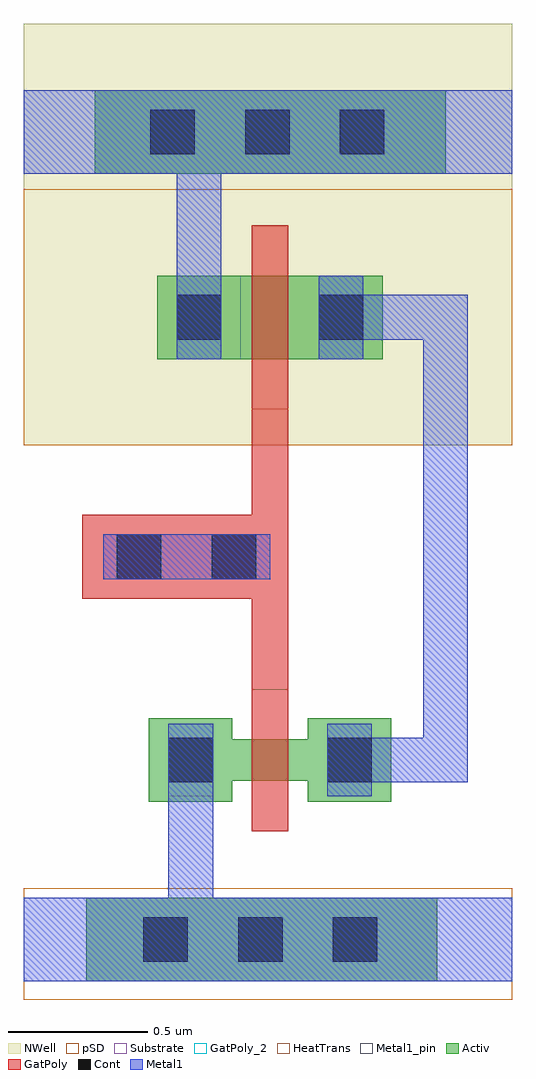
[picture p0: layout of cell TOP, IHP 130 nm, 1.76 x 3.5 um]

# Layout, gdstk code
from math import pi, radians
import gdstk
lib = gdstk.Library(unit=1e-6, precision=1e-09)
def R(c, l, rs):  # rectangles x0, y0, x1, y1
    for r in rs: c.add(gdstk.rectangle(r[:2], r[2:], *l))
def A(c, l, x, y, w, h, nx, ny, dx, dy):  # array of equal rectangles
    R(c, l, [(x+i*dx, y+j*dy, x+i*dx+w, y+j*dy+h) for i in range(nx) for j in range(ny)])
def P(c, l, *ps):  # polygons
    for p in ps: c.add(gdstk.Polygon(p, *l))
Activ = (1, 0)
GatPoly = (5, 0)
GatPoly_2 = (5, 2)
Cont = (6, 0)
Metal1 = (8, 0)
Metal1_pin = (8, 2)
pSD = (14, 0)
NWell = (31, 0)
Substrate = (40, 0)
HeatTrans = (51, 0)

nmos = lib.new_cell('nmos')
R(nmos, Activ, [(0,0,0.3,0.3), (0.57,0,0.87,0.3), (0,0.075,0.87,0.225)])
R(nmos, GatPoly, [(0.37,-0.105,0.5,0.405)])
R(nmos, GatPoly_2, [(0.37,-0.105,0.5,0.405)])
R(nmos, Cont, [(0.07,0.07,0.23,0.23), (0.64,0.07,0.8,0.23)])
R(nmos, Metal1, [(0.07,0.02,0.23,0.28), (0.64,0.02,0.8,0.28)])
R(nmos, Metal1_pin, [(0.07,0.02,0.23,0.28), (0.64,0.02,0.8,0.28)])
R(nmos, HeatTrans, [(0.37,-0.105,0.5,0.405)])
nmos.add(gdstk.Label('nmos', (0.435,0.15), layer=63, texttype=0))
nmos.add(gdstk.Label('nmos', (0.435,0.15), layer=51, texttype=0))

pmos_1 = lib.new_cell('pmos$1')
R(pmos_1, Activ, [(0,0,0.3,0.3), (0,0,0.81,0.3), (0.51,0,0.81,0.3)])
R(pmos_1, GatPoly, [(0.34,-0.18,0.47,0.48), (0.34,-0.18,0.47,0.48)])
R(pmos_1, Cont, [(0.07,0.07,0.23,0.23), (0.58,0.07,0.74,0.23)])
R(pmos_1, Metal1, [(0.07,0,0.23,0.3), (0.07,0,0.23,0.3), (0.58,0,0.74,0.3), (0.58,0,0.74,0.3)])
R(pmos_1, pSD, [(-0.18,-0.3,0.99,0.6)])
R(pmos_1, NWell, [(-0.31,-0.31,1.12,0.61)])
R(pmos_1, Substrate, [(0.51,0,0.81,0.3)])
R(pmos_1, HeatTrans, [(0.34,-0.18,0.47,0.48)])
pmos_1.add(gdstk.Label('pmos', (0.405,0.15), layer=63, texttype=0))
pmos_1.add(gdstk.Label('pmos', (0.405,0.15), layer=51, texttype=0))

top = lib.new_cell('TOP')
R(top, Activ, [(-4.53,1.215,-3.27,1.515), (-4.5,4.115,-3.24,4.415)])
P(top, GatPoly, [(-3.935,2.265),(-3.935,2.59),(-4.545,2.59),(-4.545,2.89),(-3.935,2.89),(-3.935,3.27),(-3.805,3.27),(-3.805,2.265)])
A(top, Cont, -4.325, 1.285, 0.16, 0.16, 3, 1, 0.34, 0)
A(top, Cont, -4.3, 4.185, 0.16, 0.16, 3, 1, 0.34, 0)
R(top, Cont, [(-4.42,2.66,-4.26,2.82), (-4.08,2.66,-3.92,2.82)])
R(top, Metal1, [(-4.47,2.66,-3.87,2.82)])
P(top, Metal1, [(-3.525,1.93),(-3.525,2.09),(-3.32,2.09),(-3.32,3.52),(-3.555,3.52),(-3.555,3.68),(-3.16,3.68),(-3.16,1.93)],
  [(-4.205,3.75),(-4.205,4.115),(-4.755,4.115),(-4.755,4.415),(-3,4.415),(-3,4.115),(-4.045,4.115),(-4.045,3.75)],
  [(-4.755,1.215),(-4.755,1.515),(-4.235,1.515),(-4.235,1.88),(-4.075,1.88),(-4.075,1.515),(-3,1.515),(-3,1.215)])
R(top, Metal1_pin, [(-4.53,1.215,-3.27,1.515), (-4.47,2.66,-3.87,2.82), (-4.5,4.115,-3.24,4.415)])
P(top, Metal1_pin, [(-3.665,1.93),(-3.665,2.09),(-3.32,2.09),(-3.32,3.52),(-3.695,3.52),(-3.695,3.68),(-3.16,3.68),(-3.16,1.93)])
R(top, pSD, [(-4.755,1.15,-3,1.55), (-4.755,3.14,-3,4.06)])
R(top, NWell, [(-4.755,3.14,-3,4.655)])
top.add(gdstk.Reference(nmos, (-3.435,1.86), rotation=pi, x_reflection=True))
top.add(gdstk.Reference(pmos_1, (-3.465,3.45), rotation=pi, x_reflection=True))

lib.write_gds('TOP.gds')
